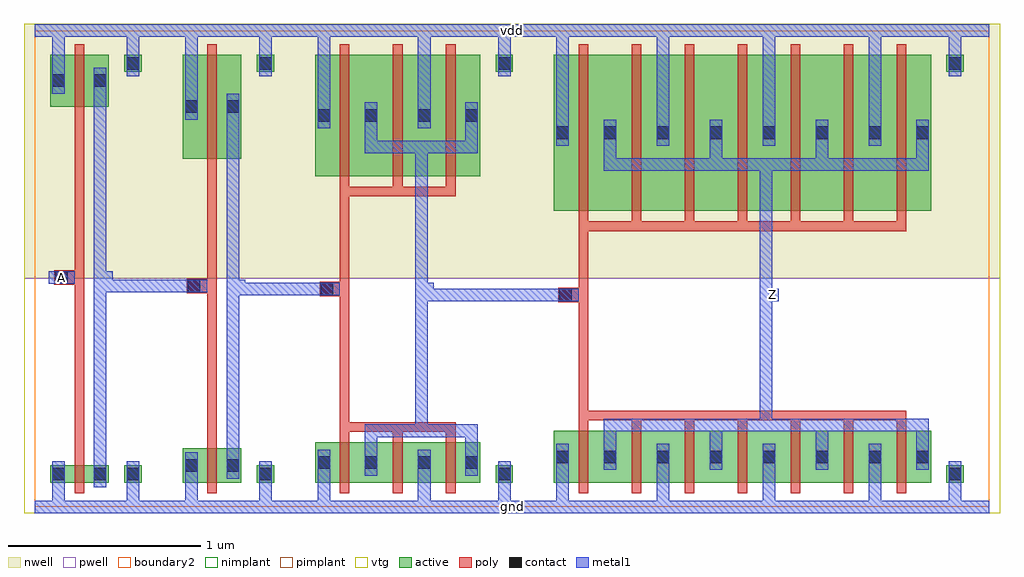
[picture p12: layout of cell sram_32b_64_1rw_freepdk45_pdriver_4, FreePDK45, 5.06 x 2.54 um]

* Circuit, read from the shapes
.subckt sram_32b_64_1rw_freepdk45_pdriver_4 A Z gnd vdd
M1 sram_32b_64_1rw_freepdk45_pinv_15_1/A A gnd gnd nfet w=0.09u l=0.05u
M2 sram_32b_64_1rw_freepdk45_pinv_16_2/A sram_32b_64_1rw_freepdk45_pinv_15_1/A gnd gnd nfet w=0.18u l=0.05u
M3 sram_32b_64_1rw_freepdk45_pinv_17_3/A sram_32b_64_1rw_freepdk45_pinv_16_2/A gnd gnd nfet w=0.21u l=0.05u m=3
M4 Z sram_32b_64_1rw_freepdk45_pinv_17_3/A gnd gnd nfet w=0.27u l=0.05u m=7
M5 sram_32b_64_1rw_freepdk45_pinv_15_1/A A vdd vdd pfet w=0.27u l=0.05u
M6 sram_32b_64_1rw_freepdk45_pinv_16_2/A sram_32b_64_1rw_freepdk45_pinv_15_1/A vdd vdd pfet w=0.54u l=0.05u
M7 sram_32b_64_1rw_freepdk45_pinv_17_3/A sram_32b_64_1rw_freepdk45_pinv_16_2/A vdd vdd pfet w=0.63u l=0.05u m=3
M8 Z sram_32b_64_1rw_freepdk45_pinv_17_3/A vdd vdd pfet w=0.81u l=0.05u m=7
.ends

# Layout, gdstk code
import gdstk
lib = gdstk.Library(unit=1e-6, precision=5e-10)
def R(c, l, rs):  # rectangles x0, y0, x1, y1
    for r in rs: c.add(gdstk.rectangle(r[:2], r[2:], *l))
def A(c, l, x, y, w, h, nx, ny, dx, dy):  # array of equal rectangles
    R(c, l, [(x+i*dx, y+j*dy, x+i*dx+w, y+j*dy+h) for i in range(nx) for j in range(ny)])
active = (1, 0)
pwell = (2, 0)
nwell = (3, 0)
nimplant = (4, 0)
pimplant = (5, 0)
vtg = (6, 0)
poly = (9, 0)
contact = (10, 0)
metal1 = (11, 0)
boundary2 = (239, 0)

sram_32b_64_1rw_freepdk4 = lib.new_cell('sram_32b_64_1rw_freepdk45_contact_11')
R(sram_32b_64_1rw_freepdk4, active, [(0,0.0225,0.09,0.1125)])
R(sram_32b_64_1rw_freepdk4, nwell, [(-0.055,-0.0325,0.145,0.1675)])
R(sram_32b_64_1rw_freepdk4, pimplant, [(0,0.0225,0.09,0.1125)])
R(sram_32b_64_1rw_freepdk4, contact, [(0.0125,0.035,0.0775,0.1)])
R(sram_32b_64_1rw_freepdk4, metal1, [(0.0125,0,0.0775,0.135)])
R(sram_32b_64_1rw_freepdk4, boundary2, [(-0.055,-0.0325,0.145,0.1675)])

c_sram_32b_64_1rw_freepdk4 = lib.new_cell('sram_32b_64_1rw_freepdk45_pmos_m1_w0_270_sm1_dm1_da_p')
R(c_sram_32b_64_1rw_freepdk4, active, [(0,0,0.305,0.27)])
R(c_sram_32b_64_1rw_freepdk4, nwell, [(-0.08,-0.08,0.385,0.35)])
R(c_sram_32b_64_1rw_freepdk4, pimplant, [(0,0,0.305,0.27)])
R(c_sram_32b_64_1rw_freepdk4, vtg, [(-0.08,-0.08,0.385,0.35)])
R(c_sram_32b_64_1rw_freepdk4, poly, [(0.1275,-0.055,0.1775,0.325), (0.1275,-0.055,0.1775,0.325)])
R(c_sram_32b_64_1rw_freepdk4, metal1, [(0.0125,0.0675,0.0775,0.2025), (0.2275,0.0675,0.2925,0.2025)])
R(c_sram_32b_64_1rw_freepdk4, boundary2, [(-0.08,-0.08,0.385,0.35)])
c_sram_32b_64_1rw_freepdk4.add(gdstk.Reference(sram_32b_64_1rw_freepdk4, (0,0.0675)))
c_sram_32b_64_1rw_freepdk4.add(gdstk.Reference(sram_32b_64_1rw_freepdk4, (0.215,0.0675)))
c_sram_32b_64_1rw_freepdk4.add(gdstk.Label('G', (0.1525,0.135), layer=9, texttype=0))
c_sram_32b_64_1rw_freepdk4.add(gdstk.Label('S', (0.045,0.135), layer=11, texttype=0))
c_sram_32b_64_1rw_freepdk4.add(gdstk.Label('D', (0.26,0.135), layer=11, texttype=0))

c_sram_32b_64_1rw_freepdk4_ = lib.new_cell('sram_32b_64_1rw_freepdk45_contact_10')
R(c_sram_32b_64_1rw_freepdk4_, active, [(0,0.0225,0.09,0.1125)])
R(c_sram_32b_64_1rw_freepdk4_, pwell, [(-0.055,-0.0325,0.145,0.1675)])
R(c_sram_32b_64_1rw_freepdk4_, nimplant, [(0,0.0225,0.09,0.1125)])
R(c_sram_32b_64_1rw_freepdk4_, contact, [(0.0125,0.035,0.0775,0.1)])
R(c_sram_32b_64_1rw_freepdk4_, metal1, [(0.0125,0,0.0775,0.135)])
R(c_sram_32b_64_1rw_freepdk4_, boundary2, [(-0.055,-0.0325,0.145,0.1675)])

c_sram_32b_64_1rw_freepdk4__ = lib.new_cell('sram_32b_64_1rw_freepdk45_nmos_m1_w0_090_sm1_dm1_da_p')
R(c_sram_32b_64_1rw_freepdk4__, active, [(0,0,0.305,0.09)])
R(c_sram_32b_64_1rw_freepdk4__, pwell, [(-0.08,-0.08,0.385,0.17)])
R(c_sram_32b_64_1rw_freepdk4__, nimplant, [(0,0,0.305,0.09)])
R(c_sram_32b_64_1rw_freepdk4__, vtg, [(-0.08,-0.08,0.385,0.17)])
R(c_sram_32b_64_1rw_freepdk4__, poly, [(0.1275,-0.055,0.1775,0.145), (0.1275,-0.055,0.1775,0.145)])
R(c_sram_32b_64_1rw_freepdk4__, metal1, [(0.0125,-0.0225,0.0775,0.1125), (0.2275,-0.0225,0.2925,0.1125)])
R(c_sram_32b_64_1rw_freepdk4__, boundary2, [(-0.08,-0.08,0.385,0.17)])
c_sram_32b_64_1rw_freepdk4__.add(gdstk.Reference(c_sram_32b_64_1rw_freepdk4_, (0,-0.0225)))
c_sram_32b_64_1rw_freepdk4__.add(gdstk.Reference(c_sram_32b_64_1rw_freepdk4_, (0.215,-0.0225)))
c_sram_32b_64_1rw_freepdk4__.add(gdstk.Label('G', (0.1525,0.045), layer=9, texttype=0))
c_sram_32b_64_1rw_freepdk4__.add(gdstk.Label('S', (0.045,0.045), layer=11, texttype=0))
c_sram_32b_64_1rw_freepdk4__.add(gdstk.Label('D', (0.26,0.045), layer=11, texttype=0))

c_sram_32b_64_1rw_freepdk4___ = lib.new_cell('sram_32b_64_1rw_freepdk45_contact_12')
R(c_sram_32b_64_1rw_freepdk4___, active, [(0,0.0225,0.09,0.1125)])
R(c_sram_32b_64_1rw_freepdk4___, nwell, [(-0.055,-0.0325,0.145,0.1675)])
R(c_sram_32b_64_1rw_freepdk4___, nimplant, [(0,0.0225,0.09,0.1125)])
R(c_sram_32b_64_1rw_freepdk4___, contact, [(0.0125,0.035,0.0775,0.1)])
R(c_sram_32b_64_1rw_freepdk4___, metal1, [(0.0125,0,0.0775,0.135)])
R(c_sram_32b_64_1rw_freepdk4___, boundary2, [(-0.055,-0.0325,0.145,0.1675)])

c_sram_32b_64_1rw_freepdk4____ = lib.new_cell('sram_32b_64_1rw_freepdk45_contact_13')
R(c_sram_32b_64_1rw_freepdk4____, active, [(0,0.0225,0.09,0.1125)])
R(c_sram_32b_64_1rw_freepdk4____, pwell, [(-0.055,-0.0325,0.145,0.1675)])
R(c_sram_32b_64_1rw_freepdk4____, pimplant, [(0,0.0225,0.09,0.1125)])
R(c_sram_32b_64_1rw_freepdk4____, contact, [(0.0125,0.035,0.0775,0.1)])
R(c_sram_32b_64_1rw_freepdk4____, metal1, [(0.0125,0,0.0775,0.135)])
R(c_sram_32b_64_1rw_freepdk4____, boundary2, [(-0.055,-0.0325,0.145,0.1675)])

c_sram_32b_64_1rw_freepdk4_____ = lib.new_cell('sram_32b_64_1rw_freepdk45_contact_14')
R(c_sram_32b_64_1rw_freepdk4_____, poly, [(0.03,0,0.105,0.075)])
R(c_sram_32b_64_1rw_freepdk4_____, contact, [(0.035,0.005,0.1,0.07)])
R(c_sram_32b_64_1rw_freepdk4_____, metal1, [(0,0.005,0.135,0.07)])
R(c_sram_32b_64_1rw_freepdk4_____, boundary2, [(0,0,0.135,0.075)])

c_sram_32b_64_1rw_freepdk4______ = lib.new_cell('sram_32b_64_1rw_freepdk45_pinv_7')
R(c_sram_32b_64_1rw_freepdk4______, pwell, [(-0.055,-0.0325,0.7425,1.185)])
R(c_sram_32b_64_1rw_freepdk4______, nwell, [(-0.055,1.185,0.7425,2.505)])
R(c_sram_32b_64_1rw_freepdk4______, vtg, [(-0.055,-0.0325,0.7425,1.185), (-0.055,1.185,0.7425,2.505)])
R(c_sram_32b_64_1rw_freepdk4______, poly, [(0.2075,0.27,0.2575,2.02), (0.14,1.1525,0.2075,1.2275)])
R(c_sram_32b_64_1rw_freepdk4______, metal1, [(0,-0.0325,0.6875,0.0325), (0.0925,-0.0325,0.1575,0.1025), (0.4775,0,0.5425,0.17), (0.3075,0.1025,0.3725,2.2775), (0.0725,1.1575,0.2075,1.2225), (0.34,1.1575,0.405,1.2225), (0.0925,2.1425,0.1575,2.5025), (0.4775,2.3,0.5425,2.47), (0,2.4375,0.6875,2.5025)])
R(c_sram_32b_64_1rw_freepdk4______, boundary2, [(0,0,0.6875,2.47), (0,0,0.6875,2.47)])
c_sram_32b_64_1rw_freepdk4______.add(gdstk.Reference(c_sram_32b_64_1rw_freepdk4, (0.08,2.075)))
c_sram_32b_64_1rw_freepdk4______.add(gdstk.Reference(c_sram_32b_64_1rw_freepdk4__, (0.08,0.125)))
c_sram_32b_64_1rw_freepdk4______.add(gdstk.Reference(c_sram_32b_64_1rw_freepdk4___, (0.465,2.2325)))
c_sram_32b_64_1rw_freepdk4______.add(gdstk.Reference(c_sram_32b_64_1rw_freepdk4____, (0.465,0.1025)))
c_sram_32b_64_1rw_freepdk4______.add(gdstk.Reference(c_sram_32b_64_1rw_freepdk4_____, (0.0725,1.1525)))
c_sram_32b_64_1rw_freepdk4______.add(gdstk.Label('A', (0.14,1.19), layer=11, texttype=0))
c_sram_32b_64_1rw_freepdk4______.add(gdstk.Label('Z', (0.3725,1.19), layer=11, texttype=0))
c_sram_32b_64_1rw_freepdk4______.add(gdstk.Label('gnd', (0.344,0), layer=11, texttype=0))
c_sram_32b_64_1rw_freepdk4______.add(gdstk.Label('vdd', (0.344,2.47), layer=11, texttype=0))

c_sram_32b_64_1rw_freepdk4_______ = lib.new_cell('sram_32b_64_1rw_freepdk45_pmos_m1_w0_540_sm1_dm1_da_p')
R(c_sram_32b_64_1rw_freepdk4_______, active, [(0,0,0.305,0.54)])
R(c_sram_32b_64_1rw_freepdk4_______, nwell, [(-0.08,-0.08,0.385,0.62)])
R(c_sram_32b_64_1rw_freepdk4_______, pimplant, [(0,0,0.305,0.54)])
R(c_sram_32b_64_1rw_freepdk4_______, vtg, [(-0.08,-0.08,0.385,0.62)])
R(c_sram_32b_64_1rw_freepdk4_______, poly, [(0.1275,-0.055,0.1775,0.595), (0.1275,-0.055,0.1775,0.595)])
R(c_sram_32b_64_1rw_freepdk4_______, metal1, [(0.0125,0.2025,0.0775,0.3375), (0.2275,0.2025,0.2925,0.3375)])
R(c_sram_32b_64_1rw_freepdk4_______, boundary2, [(-0.08,-0.08,0.385,0.62)])
c_sram_32b_64_1rw_freepdk4_______.add(gdstk.Reference(sram_32b_64_1rw_freepdk4, (0,0.2025)))
c_sram_32b_64_1rw_freepdk4_______.add(gdstk.Reference(sram_32b_64_1rw_freepdk4, (0.215,0.2025)))
c_sram_32b_64_1rw_freepdk4_______.add(gdstk.Label('G', (0.1525,0.27), layer=9, texttype=0))
c_sram_32b_64_1rw_freepdk4_______.add(gdstk.Label('S', (0.045,0.27), layer=11, texttype=0))
c_sram_32b_64_1rw_freepdk4_______.add(gdstk.Label('D', (0.26,0.27), layer=11, texttype=0))

c_sram_32b_64_1rw_freepdk4________ = lib.new_cell('sram_32b_64_1rw_freepdk45_nmos_m1_w0_180_sm1_dm1_da_p')
R(c_sram_32b_64_1rw_freepdk4________, active, [(0,0,0.305,0.18)])
R(c_sram_32b_64_1rw_freepdk4________, pwell, [(-0.08,-0.08,0.385,0.26)])
R(c_sram_32b_64_1rw_freepdk4________, nimplant, [(0,0,0.305,0.18)])
R(c_sram_32b_64_1rw_freepdk4________, vtg, [(-0.08,-0.08,0.385,0.26)])
R(c_sram_32b_64_1rw_freepdk4________, poly, [(0.1275,-0.055,0.1775,0.235), (0.1275,-0.055,0.1775,0.235)])
R(c_sram_32b_64_1rw_freepdk4________, metal1, [(0.0125,0.0225,0.0775,0.1575), (0.2275,0.0225,0.2925,0.1575)])
R(c_sram_32b_64_1rw_freepdk4________, boundary2, [(-0.08,-0.08,0.385,0.26)])
c_sram_32b_64_1rw_freepdk4________.add(gdstk.Reference(c_sram_32b_64_1rw_freepdk4_, (0,0.0225)))
c_sram_32b_64_1rw_freepdk4________.add(gdstk.Reference(c_sram_32b_64_1rw_freepdk4_, (0.215,0.0225)))
c_sram_32b_64_1rw_freepdk4________.add(gdstk.Label('G', (0.1525,0.09), layer=9, texttype=0))
c_sram_32b_64_1rw_freepdk4________.add(gdstk.Label('S', (0.045,0.09), layer=11, texttype=0))
c_sram_32b_64_1rw_freepdk4________.add(gdstk.Label('D', (0.26,0.09), layer=11, texttype=0))

c_sram_32b_64_1rw_freepdk4_________ = lib.new_cell('sram_32b_64_1rw_freepdk45_pinv_15')
R(c_sram_32b_64_1rw_freepdk4_________, pwell, [(-0.055,-0.0325,0.7425,1.185)])
R(c_sram_32b_64_1rw_freepdk4_________, nwell, [(-0.055,1.185,0.7425,2.505)])
R(c_sram_32b_64_1rw_freepdk4_________, vtg, [(-0.055,-0.0325,0.7425,1.185), (-0.055,1.185,0.7425,2.505)])
R(c_sram_32b_64_1rw_freepdk4_________, poly, [(0.2075,0.36,0.2575,1.75), (0.14,1.1075,0.2075,1.1825)])
R(c_sram_32b_64_1rw_freepdk4_________, metal1, [(0,-0.0325,0.6875,0.0325), (0.0925,-0.0325,0.1575,0.1475), (0.4775,0,0.5425,0.17), (0.3075,0.1475,0.3725,2.1425), (0.0725,1.1125,0.2075,1.1775), (0.34,1.1125,0.405,1.1775), (0.0925,2.0075,0.1575,2.5025), (0.4775,2.3,0.5425,2.47), (0,2.4375,0.6875,2.5025)])
R(c_sram_32b_64_1rw_freepdk4_________, boundary2, [(0,0,0.6875,2.47), (0,0,0.6875,2.47)])
c_sram_32b_64_1rw_freepdk4_________.add(gdstk.Reference(c_sram_32b_64_1rw_freepdk4_______, (0.08,1.805)))
c_sram_32b_64_1rw_freepdk4_________.add(gdstk.Reference(c_sram_32b_64_1rw_freepdk4________, (0.08,0.125)))
c_sram_32b_64_1rw_freepdk4_________.add(gdstk.Reference(c_sram_32b_64_1rw_freepdk4___, (0.465,2.2325)))
c_sram_32b_64_1rw_freepdk4_________.add(gdstk.Reference(c_sram_32b_64_1rw_freepdk4____, (0.465,0.1025)))
c_sram_32b_64_1rw_freepdk4_________.add(gdstk.Reference(c_sram_32b_64_1rw_freepdk4_____, (0.0725,1.1075)))
c_sram_32b_64_1rw_freepdk4_________.add(gdstk.Label('A', (0.14,1.145), layer=11, texttype=0))
c_sram_32b_64_1rw_freepdk4_________.add(gdstk.Label('Z', (0.3725,1.145), layer=11, texttype=0))
c_sram_32b_64_1rw_freepdk4_________.add(gdstk.Label('gnd', (0.344,0), layer=11, texttype=0))
c_sram_32b_64_1rw_freepdk4_________.add(gdstk.Label('vdd', (0.344,2.47), layer=11, texttype=0))

c_sram_32b_64_1rw_freepdk4__________ = lib.new_cell('sram_32b_64_1rw_freepdk45_pmos_m3_w0_630_sm1_dm1_da_p')
R(c_sram_32b_64_1rw_freepdk4__________, active, [(0,0,0.855,0.63)])
R(c_sram_32b_64_1rw_freepdk4__________, nwell, [(-0.08,-0.08,0.935,0.71)])
R(c_sram_32b_64_1rw_freepdk4__________, pimplant, [(0,0,0.855,0.63)])
R(c_sram_32b_64_1rw_freepdk4__________, vtg, [(-0.08,-0.08,0.935,0.71)])
A(c_sram_32b_64_1rw_freepdk4__________, poly, 0.1275, -0.055, 0.05, 0.74, 3, 1, 0.275, 0)
R(c_sram_32b_64_1rw_freepdk4__________, poly, [(0.1275,-0.105,0.7275,-0.055)])
R(c_sram_32b_64_1rw_freepdk4__________, metal1, [(0.2575,0.1175,0.8425,0.1825), (0.2575,0.15,0.3225,0.315), (0.7775,0.15,0.8425,0.315), (0.0125,0.2475,0.0775,0.3825), (0.5325,0.2475,0.5975,0.3825)])
R(c_sram_32b_64_1rw_freepdk4__________, boundary2, [(-0.08,-0.105,0.935,0.71)])
c_sram_32b_64_1rw_freepdk4__________.add(gdstk.Reference(sram_32b_64_1rw_freepdk4, (0,0.2475)))
c_sram_32b_64_1rw_freepdk4__________.add(gdstk.Reference(sram_32b_64_1rw_freepdk4, (0.245,0.2475)))
c_sram_32b_64_1rw_freepdk4__________.add(gdstk.Reference(sram_32b_64_1rw_freepdk4, (0.52,0.2475)))
c_sram_32b_64_1rw_freepdk4__________.add(gdstk.Reference(sram_32b_64_1rw_freepdk4, (0.765,0.2475)))
c_sram_32b_64_1rw_freepdk4__________.add(gdstk.Label('G', (0.4275,-0.08), layer=9, texttype=0))
c_sram_32b_64_1rw_freepdk4__________.add(gdstk.Label('S', (0.045,0.315), layer=11, texttype=0))
c_sram_32b_64_1rw_freepdk4__________.add(gdstk.Label('S', (0.565,0.315), layer=11, texttype=0))
c_sram_32b_64_1rw_freepdk4__________.add(gdstk.Label('D', (0.55,0.15), layer=11, texttype=0))

c_sram_32b_64_1rw_freepdk4___________ = lib.new_cell('sram_32b_64_1rw_freepdk45_nmos_m3_w0_210_sm1_dm1_da_p')
R(c_sram_32b_64_1rw_freepdk4___________, active, [(0,0,0.855,0.21)])
R(c_sram_32b_64_1rw_freepdk4___________, pwell, [(-0.08,-0.08,0.935,0.29)])
R(c_sram_32b_64_1rw_freepdk4___________, nimplant, [(0,0,0.855,0.21)])
R(c_sram_32b_64_1rw_freepdk4___________, vtg, [(-0.08,-0.08,0.935,0.29)])
A(c_sram_32b_64_1rw_freepdk4___________, poly, 0.1275, -0.055, 0.05, 0.32, 3, 1, 0.275, 0)
R(c_sram_32b_64_1rw_freepdk4___________, poly, [(0.1275,0.265,0.7275,0.315)])
R(c_sram_32b_64_1rw_freepdk4___________, metal1, [(0.0125,0.0375,0.0775,0.1725), (0.5325,0.0375,0.5975,0.1725), (0.2575,0.105,0.3225,0.27), (0.7775,0.105,0.8425,0.27), (0.2575,0.2375,0.8425,0.3025)])
R(c_sram_32b_64_1rw_freepdk4___________, boundary2, [(-0.08,-0.08,0.935,0.315)])
c_sram_32b_64_1rw_freepdk4___________.add(gdstk.Reference(c_sram_32b_64_1rw_freepdk4_, (0,0.0375)))
c_sram_32b_64_1rw_freepdk4___________.add(gdstk.Reference(c_sram_32b_64_1rw_freepdk4_, (0.245,0.0375)))
c_sram_32b_64_1rw_freepdk4___________.add(gdstk.Reference(c_sram_32b_64_1rw_freepdk4_, (0.52,0.0375)))
c_sram_32b_64_1rw_freepdk4___________.add(gdstk.Reference(c_sram_32b_64_1rw_freepdk4_, (0.765,0.0375)))
c_sram_32b_64_1rw_freepdk4___________.add(gdstk.Label('G', (0.4275,0.29), layer=9, texttype=0))
c_sram_32b_64_1rw_freepdk4___________.add(gdstk.Label('S', (0.045,0.105), layer=11, texttype=0))
c_sram_32b_64_1rw_freepdk4___________.add(gdstk.Label('S', (0.565,0.105), layer=11, texttype=0))
c_sram_32b_64_1rw_freepdk4___________.add(gdstk.Label('D', (0.55,0.27), layer=11, texttype=0))

c_sram_32b_64_1rw_freepdk4____________ = lib.new_cell('sram_32b_64_1rw_freepdk45_pinv_16')
R(c_sram_32b_64_1rw_freepdk4____________, pwell, [(-0.055,-0.0325,1.2925,1.185)])
R(c_sram_32b_64_1rw_freepdk4____________, nwell, [(-0.055,1.185,1.2925,2.505)])
R(c_sram_32b_64_1rw_freepdk4____________, vtg, [(-0.055,-0.0325,1.2925,1.185), (-0.055,1.185,1.2925,2.505)])
R(c_sram_32b_64_1rw_freepdk4____________, poly, [(0.2075,0.44,0.2575,1.61), (0.14,1.0925,0.2075,1.1675)])
R(c_sram_32b_64_1rw_freepdk4____________, metal1, [(0,-0.0325,1.2375,0.0325), (0.0925,-0.0325,0.1575,0.1625), (0.6125,-0.0325,0.6775,0.1625), (1.0275,0,1.0925,0.17), (0.5975,0.3625,0.6625,1.8975), (0.0725,1.0975,0.2075,1.1625), (0.63,1.0975,0.695,1.1625), (0.0925,1.9625,0.1575,2.5025), (0.6125,1.9625,0.6775,2.5025), (1.0275,2.3,1.0925,2.47), (0,2.4375,1.2375,2.5025)])
R(c_sram_32b_64_1rw_freepdk4____________, boundary2, [(0,0,1.2375,2.47), (0,0,1.2375,2.47)])
c_sram_32b_64_1rw_freepdk4____________.add(gdstk.Reference(c_sram_32b_64_1rw_freepdk4__________, (0.08,1.715)))
c_sram_32b_64_1rw_freepdk4____________.add(gdstk.Reference(c_sram_32b_64_1rw_freepdk4___________, (0.08,0.125)))
c_sram_32b_64_1rw_freepdk4____________.add(gdstk.Reference(c_sram_32b_64_1rw_freepdk4___, (1.015,2.2325)))
c_sram_32b_64_1rw_freepdk4____________.add(gdstk.Reference(c_sram_32b_64_1rw_freepdk4____, (1.015,0.1025)))
c_sram_32b_64_1rw_freepdk4____________.add(gdstk.Reference(c_sram_32b_64_1rw_freepdk4_____, (0.0725,1.0925)))
c_sram_32b_64_1rw_freepdk4____________.add(gdstk.Label('A', (0.14,1.13), layer=11, texttype=0))
c_sram_32b_64_1rw_freepdk4____________.add(gdstk.Label('Z', (0.6625,1.13), layer=11, texttype=0))
c_sram_32b_64_1rw_freepdk4____________.add(gdstk.Label('gnd', (0.619,0), layer=11, texttype=0))
c_sram_32b_64_1rw_freepdk4____________.add(gdstk.Label('vdd', (0.619,2.47), layer=11, texttype=0))

c_sram_32b_64_1rw_freepdk4_____________ = lib.new_cell('sram_32b_64_1rw_freepdk45_pmos_m7_w0_810_sm1_dm1_da_p')
R(c_sram_32b_64_1rw_freepdk4_____________, active, [(0,0,1.955,0.81)])
R(c_sram_32b_64_1rw_freepdk4_____________, nwell, [(-0.08,-0.08,2.035,0.89)])
R(c_sram_32b_64_1rw_freepdk4_____________, pimplant, [(0,0,1.955,0.81)])
R(c_sram_32b_64_1rw_freepdk4_____________, vtg, [(-0.08,-0.08,2.035,0.89)])
A(c_sram_32b_64_1rw_freepdk4_____________, poly, 0.1275, -0.055, 0.05, 0.92, 7, 1, 0.275, 0)
R(c_sram_32b_64_1rw_freepdk4_____________, poly, [(0.1275,-0.105,1.8275,-0.055)])
A(c_sram_32b_64_1rw_freepdk4_____________, metal1, 0.2575, 0.24, 0.065, 0.165, 3, 1, 0.55, 0)
A(c_sram_32b_64_1rw_freepdk4_____________, metal1, 0.5325, 0.3375, 0.065, 0.135, 3, 1, 0.55, 0)
R(c_sram_32b_64_1rw_freepdk4_____________, metal1, [(0.2575,0.2075,1.9425,0.2725), (1.8775,0.24,1.9425,0.405), (0.0125,0.3375,0.0775,0.4725)])
R(c_sram_32b_64_1rw_freepdk4_____________, boundary2, [(-0.08,-0.105,2.035,0.89)])
c_sram_32b_64_1rw_freepdk4_____________.add(gdstk.Reference(sram_32b_64_1rw_freepdk4, (0,0.3375)))
c_sram_32b_64_1rw_freepdk4_____________.add(gdstk.Reference(sram_32b_64_1rw_freepdk4, (0.245,0.3375)))
c_sram_32b_64_1rw_freepdk4_____________.add(gdstk.Reference(sram_32b_64_1rw_freepdk4, (0.52,0.3375)))
c_sram_32b_64_1rw_freepdk4_____________.add(gdstk.Reference(sram_32b_64_1rw_freepdk4, (0.795,0.3375)))
c_sram_32b_64_1rw_freepdk4_____________.add(gdstk.Reference(sram_32b_64_1rw_freepdk4, (1.07,0.3375)))
c_sram_32b_64_1rw_freepdk4_____________.add(gdstk.Reference(sram_32b_64_1rw_freepdk4, (1.345,0.3375)))
c_sram_32b_64_1rw_freepdk4_____________.add(gdstk.Reference(sram_32b_64_1rw_freepdk4, (1.62,0.3375)))
c_sram_32b_64_1rw_freepdk4_____________.add(gdstk.Reference(sram_32b_64_1rw_freepdk4, (1.865,0.3375)))
c_sram_32b_64_1rw_freepdk4_____________.add(gdstk.Label('G', (0.9775,-0.08), layer=9, texttype=0))
c_sram_32b_64_1rw_freepdk4_____________.add(gdstk.Label('S', (1.665,0.405), layer=11, texttype=0))
c_sram_32b_64_1rw_freepdk4_____________.add(gdstk.Label('S', (0.045,0.405), layer=11, texttype=0))
c_sram_32b_64_1rw_freepdk4_____________.add(gdstk.Label('S', (1.115,0.405), layer=11, texttype=0))
c_sram_32b_64_1rw_freepdk4_____________.add(gdstk.Label('S', (0.565,0.405), layer=11, texttype=0))
c_sram_32b_64_1rw_freepdk4_____________.add(gdstk.Label('D', (1.1,0.24), layer=11, texttype=0))

c_sram_32b_64_1rw_freepdk4______________ = lib.new_cell('sram_32b_64_1rw_freepdk45_nmos_m7_w0_270_sm1_dm1_da_p')
R(c_sram_32b_64_1rw_freepdk4______________, active, [(0,0,1.955,0.27)])
R(c_sram_32b_64_1rw_freepdk4______________, pwell, [(-0.08,-0.08,2.035,0.35)])
R(c_sram_32b_64_1rw_freepdk4______________, nimplant, [(0,0,1.955,0.27)])
R(c_sram_32b_64_1rw_freepdk4______________, vtg, [(-0.08,-0.08,2.035,0.35)])
A(c_sram_32b_64_1rw_freepdk4______________, poly, 0.1275, -0.055, 0.05, 0.38, 7, 1, 0.275, 0)
R(c_sram_32b_64_1rw_freepdk4______________, poly, [(0.1275,0.325,1.8275,0.375)])
A(c_sram_32b_64_1rw_freepdk4______________, metal1, 0.5325, 0.0675, 0.065, 0.135, 3, 1, 0.55, 0)
A(c_sram_32b_64_1rw_freepdk4______________, metal1, 0.2575, 0.135, 0.065, 0.165, 3, 1, 0.55, 0)
R(c_sram_32b_64_1rw_freepdk4______________, metal1, [(0.0125,0.0675,0.0775,0.2025), (1.8775,0.135,1.9425,0.3), (0.2575,0.2675,1.9425,0.3325)])
R(c_sram_32b_64_1rw_freepdk4______________, boundary2, [(-0.08,-0.08,2.035,0.375)])
c_sram_32b_64_1rw_freepdk4______________.add(gdstk.Reference(c_sram_32b_64_1rw_freepdk4_, (0,0.0675)))
c_sram_32b_64_1rw_freepdk4______________.add(gdstk.Reference(c_sram_32b_64_1rw_freepdk4_, (0.245,0.0675)))
c_sram_32b_64_1rw_freepdk4______________.add(gdstk.Reference(c_sram_32b_64_1rw_freepdk4_, (0.52,0.0675)))
c_sram_32b_64_1rw_freepdk4______________.add(gdstk.Reference(c_sram_32b_64_1rw_freepdk4_, (0.795,0.0675)))
c_sram_32b_64_1rw_freepdk4______________.add(gdstk.Reference(c_sram_32b_64_1rw_freepdk4_, (1.07,0.0675)))
c_sram_32b_64_1rw_freepdk4______________.add(gdstk.Reference(c_sram_32b_64_1rw_freepdk4_, (1.345,0.0675)))
c_sram_32b_64_1rw_freepdk4______________.add(gdstk.Reference(c_sram_32b_64_1rw_freepdk4_, (1.62,0.0675)))
c_sram_32b_64_1rw_freepdk4______________.add(gdstk.Reference(c_sram_32b_64_1rw_freepdk4_, (1.865,0.0675)))
c_sram_32b_64_1rw_freepdk4______________.add(gdstk.Label('G', (0.9775,0.35), layer=9, texttype=0))
c_sram_32b_64_1rw_freepdk4______________.add(gdstk.Label('S', (1.665,0.135), layer=11, texttype=0))
c_sram_32b_64_1rw_freepdk4______________.add(gdstk.Label('S', (0.565,0.135), layer=11, texttype=0))
c_sram_32b_64_1rw_freepdk4______________.add(gdstk.Label('S', (0.045,0.135), layer=11, texttype=0))
c_sram_32b_64_1rw_freepdk4______________.add(gdstk.Label('S', (1.115,0.135), layer=11, texttype=0))
c_sram_32b_64_1rw_freepdk4______________.add(gdstk.Label('D', (1.1,0.3), layer=11, texttype=0))

c_sram_32b_64_1rw_freepdk4_______________ = lib.new_cell('sram_32b_64_1rw_freepdk45_pinv_17')
R(c_sram_32b_64_1rw_freepdk4_______________, pwell, [(-0.055,-0.0325,2.3925,1.185)])
R(c_sram_32b_64_1rw_freepdk4_______________, nwell, [(-0.055,1.185,2.3925,2.505)])
R(c_sram_32b_64_1rw_freepdk4_______________, vtg, [(-0.055,-0.0325,2.3925,1.185), (-0.055,1.185,2.3925,2.505)])
R(c_sram_32b_64_1rw_freepdk4_______________, poly, [(0.2075,0.5,0.2575,1.43), (0.14,1.0625,0.2075,1.1375)])
A(c_sram_32b_64_1rw_freepdk4_______________, metal1, 0.6125, -0.0325, 0.065, 0.225, 3, 1, 0.55, 0)
A(c_sram_32b_64_1rw_freepdk4_______________, metal1, 0.6125, 1.8725, 0.065, 0.63, 3, 1, 0.55, 0)
R(c_sram_32b_64_1rw_freepdk4_______________, metal1, [(0,-0.0325,2.3375,0.0325), (0.0925,-0.0325,0.1575,0.1925), (2.1275,0,2.1925,0.17), (1.1475,0.3925,1.2125,1.8075), (0.0725,1.0675,0.2075,1.1325), (1.18,1.0675,1.245,1.1325), (0.0925,1.8725,0.1575,2.5025), (2.1275,2.3,2.1925,2.47), (0,2.4375,2.3375,2.5025)])
R(c_sram_32b_64_1rw_freepdk4_______________, boundary2, [(0,0,2.3375,2.47), (0,0,2.3375,2.47)])
c_sram_32b_64_1rw_freepdk4_______________.add(gdstk.Reference(c_sram_32b_64_1rw_freepdk4_____________, (0.08,1.535)))
c_sram_32b_64_1rw_freepdk4_______________.add(gdstk.Reference(c_sram_32b_64_1rw_freepdk4______________, (0.08,0.125)))
c_sram_32b_64_1rw_freepdk4_______________.add(gdstk.Reference(c_sram_32b_64_1rw_freepdk4___, (2.115,2.2325)))
c_sram_32b_64_1rw_freepdk4_______________.add(gdstk.Reference(c_sram_32b_64_1rw_freepdk4____, (2.115,0.1025)))
c_sram_32b_64_1rw_freepdk4_______________.add(gdstk.Reference(c_sram_32b_64_1rw_freepdk4_____, (0.0725,1.0625)))
c_sram_32b_64_1rw_freepdk4_______________.add(gdstk.Label('A', (0.14,1.1), layer=11, texttype=0))
c_sram_32b_64_1rw_freepdk4_______________.add(gdstk.Label('Z', (1.2125,1.1), layer=11, texttype=0))
c_sram_32b_64_1rw_freepdk4_______________.add(gdstk.Label('gnd', (1.169,0), layer=11, texttype=0))
c_sram_32b_64_1rw_freepdk4_______________.add(gdstk.Label('vdd', (1.169,2.47), layer=11, texttype=0))

c_sram_32b_64_1rw_freepdk4________________ = lib.new_cell('sram_32b_64_1rw_freepdk45_pdriver_4')
R(c_sram_32b_64_1rw_freepdk4________________, pwell, [(-0.055,-0.0325,5.005,1.185)])
R(c_sram_32b_64_1rw_freepdk4________________, nwell, [(-0.055,1.185,5.005,2.505)])
R(c_sram_32b_64_1rw_freepdk4________________, vtg, [(-0.055,-0.0325,5.005,1.185), (-0.055,1.185,5.005,2.505)])
R(c_sram_32b_64_1rw_freepdk4________________, metal1, [(0,-0.0325,4.95,0.0325), (2.005,1.0675,2.07,1.1325), (2.0375,1.0675,2.7525,1.1325), (3.7925,1.0675,3.8575,1.1325), (1.0275,1.0975,1.0925,1.1625), (1.06,1.0975,1.515,1.1625), (2.005,1.1,2.07,1.13), (0.34,1.1125,0.405,1.1775), (0.3725,1.1125,0.8275,1.1775), (1.0275,1.13,1.0925,1.145), (0.34,1.145,0.405,1.19), (0.0725,1.1575,0.2075,1.2225), (0,2.4375,4.95,2.5025)])
R(c_sram_32b_64_1rw_freepdk4________________, boundary2, [(0,0,4.95,2.47), (0,0,4.95,2.47)])
c_sram_32b_64_1rw_freepdk4________________.add(gdstk.Reference(c_sram_32b_64_1rw_freepdk4______, (0,0)))
c_sram_32b_64_1rw_freepdk4________________.add(gdstk.Reference(c_sram_32b_64_1rw_freepdk4_________, (0.6875,0)))
c_sram_32b_64_1rw_freepdk4________________.add(gdstk.Reference(c_sram_32b_64_1rw_freepdk4____________, (1.375,0)))
c_sram_32b_64_1rw_freepdk4________________.add(gdstk.Reference(c_sram_32b_64_1rw_freepdk4_______________, (2.6125,0)))
c_sram_32b_64_1rw_freepdk4________________.add(gdstk.Label('Z', (3.825,1.1), layer=11, texttype=0))
c_sram_32b_64_1rw_freepdk4________________.add(gdstk.Label('A', (0.14,1.19), layer=11, texttype=0))
c_sram_32b_64_1rw_freepdk4________________.add(gdstk.Label('gnd', (2.475,0), layer=11, texttype=0))
c_sram_32b_64_1rw_freepdk4________________.add(gdstk.Label('vdd', (2.475,2.47), layer=11, texttype=0))

lib.write_gds('sram_32b_64_1rw_freepdk45_pdriver_4.gds')
